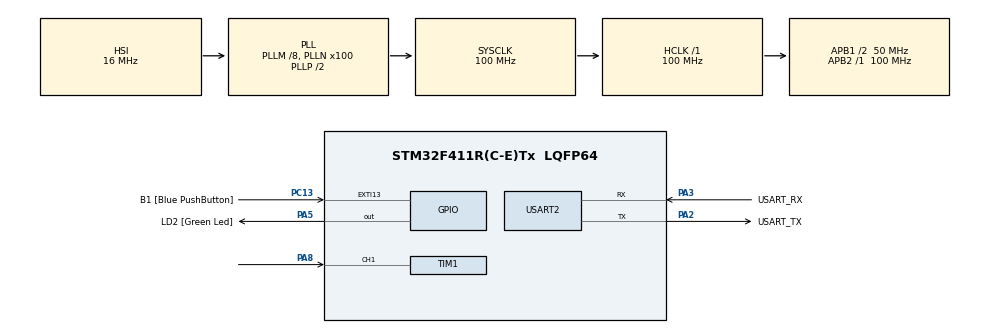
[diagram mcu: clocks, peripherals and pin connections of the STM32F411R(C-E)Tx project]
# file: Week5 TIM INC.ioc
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Mcu.Family=STM32F4
PC15-OSC32_OUT.Mode=LSE-External-Oscillator
RCC.CortexFreq_Value=100000000
PC13-ANTI_TAMP.GPIO_Label=B1 [Blue PushButton]
PA14.GPIO_Label=TCK
PH1\ -\ OSC_OUT.Mode=HSE-External-Clock-Source
Dma.TIM1_CH1.0.MemDataAlignment=DMA_MDATAALIGN_HALFWORD
Dma.TIM1_CH1.0.FIFOMode=DMA_FIFOMODE_DISABLE
TIM11.Prescaler=99
NVIC.DMA2_Stream1_IRQn=true\:0\:0\:false\:false\:true\:false\:true
RCC.APB1CLKDivider=RCC_HCLK_DIV2
PC14-OSC32_IN.Signal=RCC_OSC32_IN
Dma.TIM1_CH1.0.PeriphDataAlignment=DMA_PDATAALIGN_HALFWORD
Dma.TIM1_CH1.0.Priority=DMA_PRIORITY_LOW
RCC.SYSCLKSource=RCC_SYSCLKSOURCE_PLLCLK
ProjectManager.StackSize=0x400
VP_TIM11_VS_ClockSourceINT.Mode=Enable_Timer
Dma.TIM1_CH1.0.PeriphInc=DMA_PINC_DISABLE
Dma.TIM1_CH1.0.MemInc=DMA_MINC_ENABLE
PA3.Mode=Asynchronous
PA13.Signal=SYS_JTMS-SWDIO
PH0\ -\ OSC_IN.Mode=HSE-External-Clock-Source
Dma.TIM1_CH1.0.Mode=DMA_CIRCULAR
TIM1.Prescaler=99
SH.S_TIM1_CH1.0=TIM1_CH1,Input_Capture1_from_TI1
PH0\ -\ OSC_IN.Signal=RCC_OSC_IN
ProjectManager.TargetToolchain=STM32CubeIDE
RCC.HCLKFreq_Value=100000000
RCC.APB2TimFreq_Value=100000000
PC15-OSC32_OUT.Signal=RCC_OSC32_OUT
RCC.AHBFreq_Value=100000000
PA5.Signal=GPIO_Output
NVIC.TIM1_TRG_COM_TIM11_IRQn=true\:0\:0\:false\:false\:true\:true\:true
RCC.HSE_VALUE=8000000
PH1\ -\ OSC_OUT.Signal=RCC_OSC_OUT
board=NUCLEO-F411RE
PC13-ANTI_TAMP.Signal=GPXTI13
RCC.VCOOutputFreq_Value=200000000
RCC.APB2Freq_Value=100000000
PC14-OSC32_IN.Mode=LSE-External-Oscillator
PA14.Mode=Serial_Wire
PA8.Signal=S_TIM1_CH1
PA13.Mode=Serial_Wire
Mcu.Name=STM32F411R(C-E)Tx
VP_TIM1_VS_ClockSourceINT.Mode=Internal
PA2.Signal=USART2_TX
PA13.GPIO_Label=TMS
RCC.FLatency-AdvancedSettings=FLASH_LATENCY_3
Dma.TIM1_CH1.0.Direction=DMA_PERIPH_TO_MEMORY
RCC.48MHZClocksFreq_Value=50000000
PB3.Signal=SYS_JTDO-SWO
RCC.SYSCLKFreq_VALUE=100000000
Mcu.Package=LQFP64
Dma.TIM1_CH1.0.Instance=DMA2_Stream1
PA5.GPIO_Label=LD2 [Green Led]
USART2.VirtualMode=VM_ASYNC
TIM1.Channel-Input_Capture1_from_TI1=TIM_CHANNEL_1
PC13-ANTI_TAMP.GPIO_ModeDefaultEXTI=GPIO_MODE_IT_FALLING
PA2.GPIO_Label=USART_TX
PA14.Signal=SYS_JTCK-SWCLK
ProjectManager.HeapSize=0x200
RCC.HSI_VALUE=16000000
NVIC.PriorityGroup=NVIC_PRIORITYGROUP_0
RCC.PLLM=8
RCC.PLLN=100
RCC.APB1TimFreq_Value=100000000
PA2.Mode=Asynchronous
TIM1.Period=65535
Dma.Request0=TIM1_CH1
RCC.APB1Freq_Value=50000000
TIM1.ICFilter_CH1=2
PA3.GPIO_Label=USART_RX
PA3.Signal=USART2_RX
PB3.GPIO_Label=SWO

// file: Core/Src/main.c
/* USER CODE BEGIN Header */
/**
 ******************************************************************************
 * @file           : main.c
 * @brief          : Main program body
 ******************************************************************************
 * @attention
 *
 * <h2><center>&copy; Copyright (c) 2021 STMicroelectronics.
 * All rights reserved.</center></h2>
 *
 * This software component is licensed by ST under BSD 3-Clause license,
 * the "License"; You may not use this file except in compliance with the
 * License. You may obtain a copy of the License at:
 *                        opensource.org/licenses/BSD-3-Clause
 *
 ******************************************************************************
 */
/* USER CODE END Header */
#include "main.h"

/* USER CODE BEGIN PD */
#define CAPTURENUM 16

/* USER CODE END PD */

TIM_HandleTypeDef htim1;
TIM_HandleTypeDef htim11;
DMA_HandleTypeDef hdma_tim1_ch1;

UART_HandleTypeDef huart2;

/* USER CODE BEGIN PV */

//12 P/R , Gear reduction 1 : 64
//DMA Buffer
uint16_t capturedata[CAPTURENUM] = { 0 };
//diff time of capture data
int32_t DiffTime[CAPTURENUM-1] = { 0 };
//Mean difftime
float MeanTime =0;

//for microsecond measurement
uint64_t _micros = 0 ;
/* USER CODE END PV */

void SystemClock_Config(void);
static void MX_GPIO_Init(void);
static void MX_DMA_Init(void);
static void MX_USART2_UART_Init(void);
static void MX_TIM1_Init(void);
static void MX_TIM11_Init(void);
/* USER CODE BEGIN PFP */
//Read speed of encoder
void encoderSpeedReaderCycle();
uint64_t micros();
/* USER CODE END PFP */

int main(void)
{

  /* MCU Configuration--------------------------------------------------------*/

  /* Reset of all peripherals, Initializes the Flash interface and the Systick. */
  HAL_Init();

  /* Configure the system clock */
  SystemClock_Config();

  /* Initialize all configured peripherals */
  MX_GPIO_Init();
  MX_DMA_Init();
  MX_USART2_UART_Init();
  MX_TIM1_Init();
  MX_TIM11_Init();
  /* USER CODE BEGIN 2 */
  	  //start Microsec timer
	HAL_TIM_Base_Start_IT(&htim11);
	//start Input capture in DMA
	HAL_TIM_Base_Start(&htim1);
	HAL_TIM_IC_Start_DMA(&htim1, TIM_CHANNEL_1, (uint32_t*) capturedata,
			CAPTURENUM);

	uint64_t timestamp = 0;
  /* USER CODE END 2 */

  /* Infinite loop */
  /* USER CODE BEGIN WHILE */
	while (1)
	{
		//read Time of encoder
		encoderSpeedReaderCycle();

		if(micros() - timestamp > 1000000) // uS
		{
			timestamp = micros();
			HAL_GPIO_TogglePin(LD2_GPIO_Port,LD2_Pin);
		}

    /* USER CODE END WHILE */

	}
}

void SystemClock_Config(void)
{
  RCC_OscInitTypeDef RCC_OscInitStruct = {0};
  RCC_ClkInitTypeDef RCC_ClkInitStruct = {0};

  /** Configure the main internal regulator output voltage
  */
  __HAL_RCC_PWR_CLK_ENABLE();
  __HAL_PWR_VOLTAGESCALING_CONFIG(PWR_REGULATOR_VOLTAGE_SCALE1);
  /** Initializes the RCC Oscillators according to the specified parameters
  * in the RCC_OscInitTypeDef structure.
  */
  RCC_OscInitStruct.OscillatorType = RCC_OSCILLATORTYPE_HSI;
  RCC_OscInitStruct.HSIState = RCC_HSI_ON;
  RCC_OscInitStruct.HSICalibrationValue = RCC_HSICALIBRATION_DEFAULT;
  RCC_OscInitStruct.PLL.PLLState = RCC_PLL_ON;
  RCC_OscInitStruct.PLL.PLLSource = RCC_PLLSOURCE_HSI;
  RCC_OscInitStruct.PLL.PLLM = 8;
  RCC_OscInitStruct.PLL.PLLN = 100;
  RCC_OscInitStruct.PLL.PLLP = RCC_PLLP_DIV2;
  RCC_OscInitStruct.PLL.PLLQ = 4;
  if (HAL_RCC_OscConfig(&RCC_OscInitStruct) != HAL_OK)
  {
    Error_Handler();
  }
  /** Initializes the CPU, AHB and APB buses clocks
  */
  RCC_ClkInitStruct.ClockType = RCC_CLOCKTYPE_HCLK|RCC_CLOCKTYPE_SYSCLK
                              |RCC_CLOCKTYPE_PCLK1|RCC_CLOCKTYPE_PCLK2;
  RCC_ClkInitStruct.SYSCLKSource = RCC_SYSCLKSOURCE_PLLCLK;
  RCC_ClkInitStruct.AHBCLKDivider = RCC_SYSCLK_DIV1;
  RCC_ClkInitStruct.APB1CLKDivider = RCC_HCLK_DIV2;
  RCC_ClkInitStruct.APB2CLKDivider = RCC_HCLK_DIV1;

  if (HAL_RCC_ClockConfig(&RCC_ClkInitStruct, FLASH_LATENCY_3) != HAL_OK)
  {
    Error_Handler();
  }
}

static void MX_TIM1_Init(void)
{

  TIM_ClockConfigTypeDef sClockSourceConfig = {0};
  TIM_MasterConfigTypeDef sMasterConfig = {0};
  TIM_IC_InitTypeDef sConfigIC = {0};

  htim1.Instance = TIM1;
  htim1.Init.Prescaler = 99;
  htim1.Init.CounterMode = TIM_COUNTERMODE_UP;
  htim1.Init.Period = 65535;
  htim1.Init.ClockDivision = TIM_CLOCKDIVISION_DIV1;
  htim1.Init.RepetitionCounter = 0;
  htim1.Init.AutoReloadPreload = TIM_AUTORELOAD_PRELOAD_DISABLE;
  if (HAL_TIM_Base_Init(&htim1) != HAL_OK)
  {
    Error_Handler();
  }
  sClockSourceConfig.ClockSource = TIM_CLOCKSOURCE_INTERNAL;
  if (HAL_TIM_ConfigClockSource(&htim1, &sClockSourceConfig) != HAL_OK)
  {
    Error_Handler();
  }
  if (HAL_TIM_IC_Init(&htim1) != HAL_OK)
  {
    Error_Handler();
  }
  sMasterConfig.MasterOutputTrigger = TIM_TRGO_RESET;
  sMasterConfig.MasterSlaveMode = TIM_MASTERSLAVEMODE_DISABLE;
  if (HAL_TIMEx_MasterConfigSynchronization(&htim1, &sMasterConfig) != HAL_OK)
  {
    Error_Handler();
  }
  sConfigIC.ICPolarity = TIM_INPUTCHANNELPOLARITY_RISING;
  sConfigIC.ICSelection = TIM_ICSELECTION_DIRECTTI;
  sConfigIC.ICPrescaler = TIM_ICPSC_DIV1;
  sConfigIC.ICFilter = 2;
  if (HAL_TIM_IC_ConfigChannel(&htim1, &sConfigIC, TIM_CHANNEL_1) != HAL_OK)
  {
    Error_Handler();
  }

}

static void MX_TIM11_Init(void)
{

  htim11.Instance = TIM11;
  htim11.Init.Prescaler = 99;
  htim11.Init.CounterMode = TIM_COUNTERMODE_UP;
  htim11.Init.Period = 65535;
  htim11.Init.ClockDivision = TIM_CLOCKDIVISION_DIV1;
  htim11.Init.AutoReloadPreload = TIM_AUTORELOAD_PRELOAD_DISABLE;
  if (HAL_TIM_Base_Init(&htim11) != HAL_OK)
  {
    Error_Handler();
  }

}

static void MX_USART2_UART_Init(void)
{

  huart2.Instance = USART2;
  huart2.Init.BaudRate = 115200;
  huart2.Init.WordLength = UART_WORDLENGTH_8B;
  huart2.Init.StopBits = UART_STOPBITS_1;
  huart2.Init.Parity = UART_PARITY_NONE;
  huart2.Init.Mode = UART_MODE_TX_RX;
  huart2.Init.HwFlowCtl = UART_HWCONTROL_NONE;
  huart2.Init.OverSampling = UART_OVERSAMPLING_16;
  if (HAL_UART_Init(&huart2) != HAL_OK)
  {
    Error_Handler();
  }

}

static void MX_DMA_Init(void)
{

  /* DMA controller clock enable */
  __HAL_RCC_DMA2_CLK_ENABLE();

  /* DMA interrupt init */
  /* DMA2_Stream1_IRQn interrupt configuration */
  HAL_NVIC_SetPriority(DMA2_Stream1_IRQn, 0, 0);
  HAL_NVIC_EnableIRQ(DMA2_Stream1_IRQn);

}

static void MX_GPIO_Init(void)
{
  GPIO_InitTypeDef GPIO_InitStruct = {0};

  /* GPIO Ports Clock Enable */
  __HAL_RCC_GPIOC_CLK_ENABLE();
  __HAL_RCC_GPIOH_CLK_ENABLE();
  __HAL_RCC_GPIOA_CLK_ENABLE();
  __HAL_RCC_GPIOB_CLK_ENABLE();

  /*Configure GPIO pin Output Level */
  HAL_GPIO_WritePin(LD2_GPIO_Port, LD2_Pin, GPIO_PIN_RESET);

  /*Configure GPIO pin : B1_Pin */
  GPIO_InitStruct.Pin = B1_Pin;
  GPIO_InitStruct.Mode = GPIO_MODE_IT_FALLING;
  GPIO_InitStruct.Pull = GPIO_NOPULL;
  HAL_GPIO_Init(B1_GPIO_Port, &GPIO_InitStruct);

  /*Configure GPIO pin : LD2_Pin */
  GPIO_InitStruct.Pin = LD2_Pin;
  GPIO_InitStruct.Mode = GPIO_MODE_OUTPUT_PP;
  GPIO_InitStruct.Pull = GPIO_NOPULL;
  GPIO_InitStruct.Speed = GPIO_SPEED_FREQ_LOW;
  HAL_GPIO_Init(LD2_GPIO_Port, &GPIO_InitStruct);

}

/* USER CODE BEGIN 4 */
void encoderSpeedReaderCycle() {
	//get DMA Position form number of data
	uint32_t CapPos =CAPTURENUM -  __HAL_DMA_GET_COUNTER(htim1.hdma[TIM_DMA_ID_CC1]);
	uint32_t sum = 0 ;

	//calculate diff from all buffer
	for(register int i=0 ;i < CAPTURENUM-1;i++)
	{
		DiffTime[i]  = capturedata[(CapPos+1+i)%CAPTURENUM]-capturedata[(CapPos+i)%CAPTURENUM];
		//time never go back, but timer can over flow , conpensate that
		if (DiffTime[i] < 0)
		{
			DiffTime[i] += 65535;
		}
		//Sum all 15 Diff
		sum += DiffTime[i];
	}

	//mean all 15 Diff
	MeanTime = sum / ( float )( CAPTURENUM - 1);
}
uint64_t micros()
{
	return _micros + htim11.Instance -> CNT;
}
void HAL_TIM_PeriodElapsedCallback(TIM_HandleTypeDef *htim)
{
 if(htim == &htim11)
 {
	 _micros += 65535;
 }
}

/* USER CODE END 4 */

void Error_Handler(void)
{
	__disable_irq();
	while (1)
	{
	}
}

/************************ (C) COPYRIGHT STMicroelectronics *****END OF FILE****/
